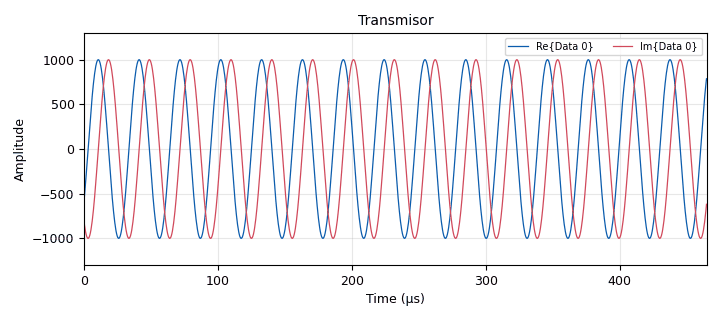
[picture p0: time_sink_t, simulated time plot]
<?xml version='1.0' encoding='utf-8'?>
<?grc format='1' created='3.7.12'?>
<flow_graph>
<block>
<key>options</key>
<param><key>id</key><value>top_block</value></param>
<param><key>category</key><value>Custom</value></param>
<param><key>generate_options</key><value>qt_gui</value></param>
<param><key>realtime_scheduling</key><value>1</value></param>
</block>
<block>
<key>variable_qtgui_entry</key>
<param><key>id</key><value>freq</value></param>
<param><key>value</key><value>int(2.507e9)</value></param>
<param><key>gui_hint</key><value>0,1,1,1</value></param>
<param><key>label</key><value>Frecuencia RX</value></param>
<param><key>type</key><value>int</value></param>
</block>
<block>
<key>variable_qtgui_entry</key>
<param><key>id</key><value>freq_t</value></param>
<param><key>value</key><value>int(2.507e9)</value></param>
<param><key>gui_hint</key><value>0,0,1,1</value></param>
<param><key>label</key><value>Frecuencia TX</value></param>
<param><key>type</key><value>int</value></param>
</block>
<block>
<key>variable</key>
<param><key>id</key><value>period_samples</value></param>
<param><key>value</key><value>0x8000</value></param>
</block>
<block>
<key>variable</key>
<param><key>id</key><value>sample_rate</value></param>
<param><key>value</key><value>2200000</value></param>
</block>
<block>
<key>analog_sig_source_x</key>
<param><key>id</key><value>analog_sig_source_x_0</value></param>
<param><key>amp</key><value>1000</value></param>
<param><key>freq</key><value>period_samples</value></param>
<param><key>offset</key><value>0</value></param>
<param><key>type</key><value>complex</value></param>
<param><key>samp_rate</key><value>sample_rate</value></param>
<param><key>waveform</key><value>analog.GR_SIN_WAVE</value></param>
</block>
<block>
<key>blocks_complex_to_float</key>
<param><key>id</key><value>blocks_complex_to_float_0</value></param>
</block>
<block>
<key>blocks_float_to_complex</key>
<param><key>id</key><value>blocks_float_to_complex_0</value></param>
</block>
<block>
<key>blocks_float_to_short</key>
<param><key>id</key><value>blocks_float_to_short_0</value></param>
<param><key>scale</key><value>1</value></param>
</block>
<block>
<key>blocks_float_to_short</key>
<param><key>id</key><value>blocks_float_to_short_0_0</value></param>
<param><key>scale</key><value>1</value></param>
</block>
<block>
<key>blocks_short_to_float</key>
<param><key>id</key><value>blocks_short_to_float_0</value></param>
<param><key>scale</key><value>1</value></param>
</block>
<block>
<key>blocks_short_to_float</key>
<param><key>id</key><value>blocks_short_to_float_0_0</value></param>
<param><key>scale</key><value>0</value></param>
</block>
<block>
<key>parameter</key>
<param><key>id</key><value>decimation</value></param>
<param><key>label</key><value>Decimation</value></param>
<param><key>type</key><value>intx</value></param>
<param><key>value</key><value>1</value></param>
</block>
<block>
<key>fmcomms1_fmcomms1_sink</key>
<param><key>id</key><value>fmcomms1_fmcomms1_sink_0</value></param>
<param><key>buffer_size</key><value>period_samples</value></param>
<param><key>ch1_en</key><value>True</value></param>
<param><key>ch2_en</key><value>True</value></param>
<param><key>cyclic</key><value>False</value></param>
<param><key>uri</key><value>uri_1</value></param>
<param><key>interpolation</key><value>1</value></param>
<param><key>frequency</key><value>freq_t</value></param>
<param><key>samplerate</key><value>sample_rate</value></param>
</block>
<block>
<key>fmcomms1_fmcomms1_source</key>
<param><key>id</key><value>fmcomms1_fmcomms1_source_0</value></param>
<param><key>buffer_size</key><value>0x8000</value></param>
<param><key>ch1_en</key><value>True</value></param>
<param><key>ch2_en</key><value>True</value></param>
<param><key>decimation</key><value>1</value></param>
<param><key>gain</key><value>4.5</value></param>
<param><key>uri</key><value>uri_1</value></param>
<param><key>frequency</key><value>freq</value></param>
<param><key>samplerate</key><value>sample_rate</value></param>
</block>
<block>
<key>qtgui_freq_sink_x</key>
<param><key>id</key><value>qtgui_freq_sink_x_0</value></param>
<param><key>autoscale</key><value>True</value></param>
<param><key>average</key><value>0.2</value></param>
<param><key>bw</key><value>sample_rate</value></param>
<param><key>fc</key><value>freq</value></param>
<param><key>fftsize</key><value>1024</value></param>
<param><key>label1</key><value>Frecuencia</value></param>
<param><key>name</key><value>"Espectro RF"</value></param>
<param><key>showports</key><value>True</value></param>
<param><key>type</key><value>complex</value></param>
<param><key>wintype</key><value>firdes.WIN_BLACKMAN_hARRIS</value></param>
<param><key>ymax</key><value>17000</value></param>
<param><key>ymin</key><value>10000</value></param>
</block>
<block>
<key>qtgui_time_sink_x</key>
<param><key>id</key><value>qtgui_time_sink_x_0</value></param>
<param><key>gui_hint</key><value>2,1,1,1</value></param>
<param><key>color1</key><value>"blue"</value></param>
<param><key>label1</key><value></value></param>
<param><key>color2</key><value>"red"</value></param>
<param><key>label2</key><value></value></param>
<param><key>name</key><value>"Receptor"</value></param>
<param><key>size</key><value>1024</value></param>
<param><key>srate</key><value>sample_rate</value></param>
<param><key>type</key><value>complex</value></param>
<param><key>ymax</key><value>800</value></param>
<param><key>ymin</key><value>-800</value></param>
</block>
<block>
<key>qtgui_time_sink_x</key>
<param><key>id</key><value>time_sink_t</value></param>
<param><key>gui_hint</key><value>2,0,1,1</value></param>
<param><key>color1</key><value>"blue"</value></param>
<param><key>label1</key><value></value></param>
<param><key>color2</key><value>"red"</value></param>
<param><key>label2</key><value></value></param>
<param><key>name</key><value>"Transmisor"</value></param>
<param><key>size</key><value>1024</value></param>
<param><key>srate</key><value>sample_rate</value></param>
<param><key>type</key><value>complex</value></param>
<param><key>ymax</key><value>1300</value></param>
<param><key>ymin</key><value>-1300</value></param>
</block>
<block>
<key>parameter</key>
<param><key>id</key><value>uri</value></param>
<param><key>label</key><value>URI</value></param>
<param><key>type</key><value>string</value></param>
<param><key>value</key><value>10.1.135.98</value></param>
</block>
<block>
<key>parameter</key>
<param><key>id</key><value>uri_1</value></param>
<param><key>label</key><value>URI</value></param>
<param><key>type</key><value>string</value></param>
<param><key>value</key><value>10.1.135.113</value></param>
</block>
<connection><source_block_id>analog_sig_source_x_0</source_block_id><sink_block_id>blocks_complex_to_float_0</sink_block_id><source_key>0</source_key><sink_key>0</sink_key></connection>
<connection><source_block_id>analog_sig_source_x_0</source_block_id><sink_block_id>time_sink_t</sink_block_id><source_key>0</source_key><sink_key>0</sink_key></connection>
<connection><source_block_id>blocks_complex_to_float_0</source_block_id><sink_block_id>blocks_float_to_short_0_0</sink_block_id><source_key>1</source_key><sink_key>0</sink_key></connection>
<connection><source_block_id>blocks_complex_to_float_0</source_block_id><sink_block_id>blocks_float_to_short_0</sink_block_id><source_key>0</source_key><sink_key>0</sink_key></connection>
<connection><source_block_id>blocks_float_to_complex_0</source_block_id><sink_block_id>qtgui_freq_sink_x_0</sink_block_id><source_key>0</source_key><sink_key>0</sink_key></connection>
<connection><source_block_id>blocks_float_to_complex_0</source_block_id><sink_block_id>qtgui_time_sink_x_0</sink_block_id><source_key>0</source_key><sink_key>0</sink_key></connection>
<connection><source_block_id>blocks_float_to_short_0</source_block_id><sink_block_id>fmcomms1_fmcomms1_sink_0</sink_block_id><source_key>0</source_key><sink_key>0</sink_key></connection>
<connection><source_block_id>blocks_float_to_short_0_0</source_block_id><sink_block_id>fmcomms1_fmcomms1_sink_0</sink_block_id><source_key>0</source_key><sink_key>1</sink_key></connection>
<connection><source_block_id>blocks_short_to_float_0</source_block_id><sink_block_id>blocks_float_to_complex_0</sink_block_id><source_key>0</source_key><sink_key>0</sink_key></connection>
<connection><source_block_id>blocks_short_to_float_0_0</source_block_id><sink_block_id>blocks_float_to_complex_0</sink_block_id><source_key>0</source_key><sink_key>1</sink_key></connection>
<connection><source_block_id>fmcomms1_fmcomms1_source_0</source_block_id><sink_block_id>blocks_short_to_float_0</sink_block_id><source_key>0</source_key><sink_key>0</sink_key></connection>
<connection><source_block_id>fmcomms1_fmcomms1_source_0</source_block_id><sink_block_id>blocks_short_to_float_0_0</sink_block_id><source_key>1</source_key><sink_key>0</sink_key></connection>
</flow_graph>
